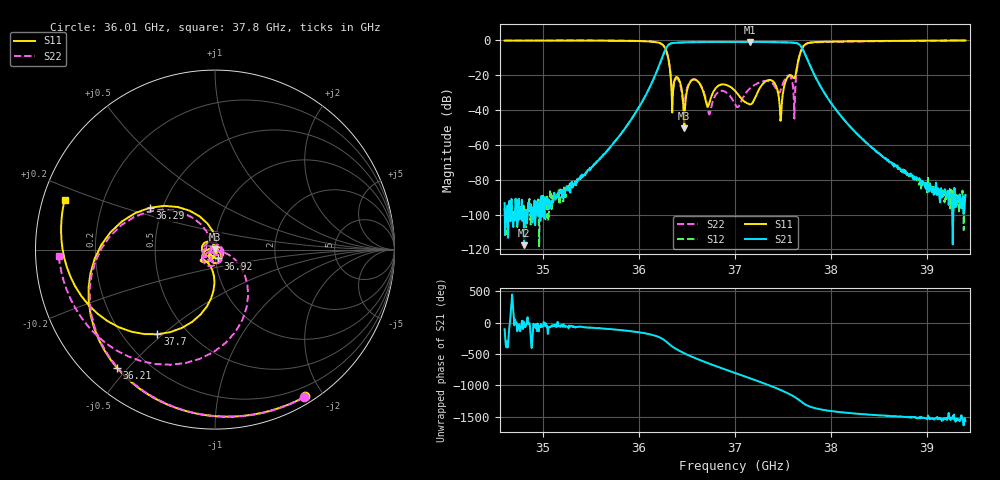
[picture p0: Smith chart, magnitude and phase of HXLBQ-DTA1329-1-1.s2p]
!Keysight Technologies,N5227B,US60211109,A.19.55.13
!Date: Tuesday, March 03, 2026 18:18:06
!Correction: S11(Cdelta 2-Port  )
!S21(Cdelta 2-Port  )
!S12(Cdelta 2-Port  )
!S22(Cdelta 2-Port  )
!S2P File: Measurements: S11, S21, S12, S22:
# Hz S  dB  R 50
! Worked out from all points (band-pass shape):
!   801 points, 34.6 GHz to 39.4 GHz, reference 50 ohm
!   highest |S21| = -0.83 dB at 37.16 GHz (marker M1); lowest = -117.6 dB at 34.8 GHz (marker M2)
!   |S21| within 3 dB of the highest: 36.29 GHz to 37.69 GHz (1.403 GHz wide, 3.79 % of centre)
!   lowest |S11| = -50.5 dB at 36.47 GHz (marker M3), VSWR 1.01, Z = 50.2 + j0.238 ohm
!   |S11| at or under -10 dB: 36.3 GHz to 37.67 GHz (1.362 GHz wide, 3.68 % of centre)
!   |S22| runs from -44.9 to 0.0 dB; largest |S21 - S12| = 0.00091
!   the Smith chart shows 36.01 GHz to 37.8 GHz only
!   S11 on the Smith chart (normalised r, x): 36.01 GHz: 0.08, -1.79; 36.21 GHz: 0.09, -0.47; 36.29 GHz: 0.42, +0.24; 36.92 GHz: 1.03, -0.10; 37.7 GHz: 0.34, -0.48; 37.8 GHz: 0.06, +0.16
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3.46e10  -0.09 76.6  -93.45 -105.1  -96.25 18.0  -0.08 79.7
3.4804e10  -0.07 64.3  -117.64 -60.0  -100.18 79.0  -0.06 67.1
3.5404e10  -0.05 21.1  -78.83 -64.3  -77.02 -68.7  -0.01 22.5
3.601e10  -0.35 -58.4  -37.40 -155.6  -37.40 -155.6  -0.34 -58.9
3.6202e10  -1.26 -125.9  -15.47 133.9  -15.48 133.9  -1.30 -126.3
3.6208e10  -1.35 -129.7  -14.63 130.1  -14.64 130.1  -1.39 -130.0
3.6292e10  -7.28 147.4  -3.58 46.6  -3.58 46.6  -7.28 151.0
3.6352e10  -31.81 -84.8  -1.48 -27.1  -1.48 -27.1  -30.80 -160.4
3.6472e10  -50.46 52.2  -1.08 -128.7  -1.09 -128.7  -37.43 31.9
3.6568e10  -22.45 -81.7  -0.99 165.1  -1.00 165.0  -22.26 -77.7
3.6688e10  -32.93 -174.0  -0.91 91.1  -0.91 91.0  -31.82 -129.4
3.6916e10  -25.70 -70.8  -0.84 -37.6  -0.84 -37.7  -30.15 -82.3
3.7e10  -28.91 -128.3  -0.84 -83.2  -0.84 -83.2  -36.54 -154.1
3.7156e10  -36.74 31.4  -0.83 -167.8  -0.83 -167.8  -27.48 6.7
3.7324e10  -23.27 -167.7  -0.91 97.8  -0.91 97.7  -23.20 -144.3
3.7474e10  -46.19 38.5  -0.97 5.6  -0.97 5.6  -28.75 -6.1
3.76e10  -20.86 -142.5  -1.24 -87.4  -1.24 -87.4  -24.81 -154.9
3.7696e10  -4.87 -124.3  -4.14 170.3  -4.15 170.3  -4.88 -90.7
3.7804e10  -1.09 161.6  -17.15 87.1  -17.16 87.1  -1.19 -177.8
3.808e10  -0.59 92.7  -41.82 13.3  -41.82 13.3  -0.75 103.8
3.8602e10  -0.25 33.5  -69.21 -49.8  -69.54 -51.2  -0.36 38.2
3.94e10  -0.01 -23.2  -88.67 -131.5  -88.71 -159.8  -0.05 -23.2
